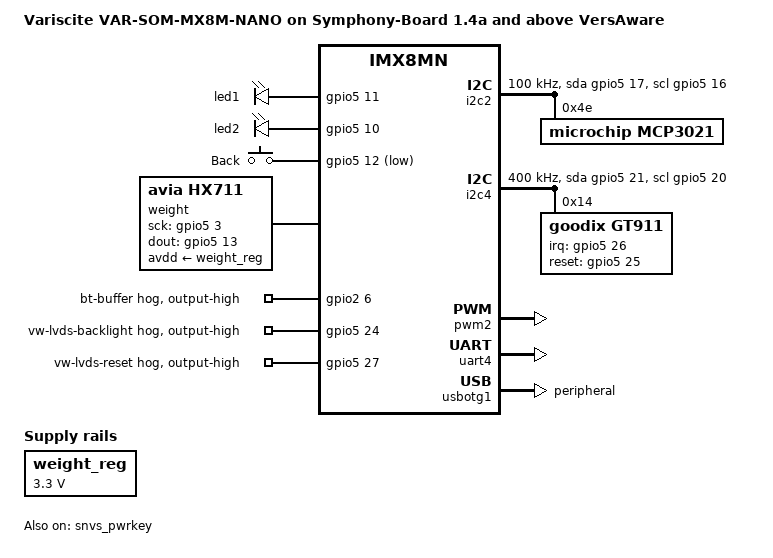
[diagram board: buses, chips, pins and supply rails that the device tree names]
// SPDX-License-Identifier: (GPL-2.0+ OR MIT)
/*
 * Copyright 2019 NXP
 * Copyright 2019-2020 Variscite Ltd.
 */

/dts-v1/;

#include <dt-bindings/usb/pd.h>
#include "imx8mn-var-som.dtsi"

/ {
	model = "Variscite VAR-SOM-MX8M-NANO on Symphony-Board 1.4a and above VersAware";
	compatible = "variscite,var-som-mx8mn", "fsl,imx8mn";

	chosen {
		stdout-path = &uart4;
	};

	leds {
		compatible = "gpio-leds";
		status = "okay";
		pinctrl-names = "default";
		pinctrl-0 = <&pinctrl_leds>;

		led1 {
			label = "led1";
			gpios = <&gpio5 11 GPIO_ACTIVE_HIGH>;
			linux,default-trigger = "default-on";
		};

		led2 {
			label = "led2";
			gpios = <&gpio5 10 GPIO_ACTIVE_HIGH>;
			linux,default-trigger = "default-on";
		};

	};

	gpio-keys {
		compatible = "gpio-keys";
		status = "okay";
		pinctrl-names = "default";
		pinctrl-0 = <&pinctrl_gpio_keys>;

		back {
			label = "Back";
			gpios = <&gpio5 12 GPIO_ACTIVE_LOW>;
			linux,code = <KEY_BACK>;
			wakeup-source;
		};
	};

	sound-wm8904 {
		status = "disabled";
	};

	weight_reg: regulator-weight {
		compatible = "regulator-fixed";
		regulator-name = "loadcell";
		regulator-min-microvolt = <3300000>;
		regulator-max-microvolt = <3300000>;
	};

	weight {
		compatible = "avia,hx711";
		pinctrl-names = "default";
		pinctrl-0 = <&pinctrl_weight>;

		sck-gpios = <&gpio5 3 GPIO_ACTIVE_HIGH>;
		dout-gpios = <&gpio5 13 GPIO_ACTIVE_HIGH>;
		clock-frequency = <100000>;
		avdd-supply = <&weight_reg>;
	};
};

&cameradev {
	status = "disabled";
};

&ecspi1 {
	status = "disabled";
};

&fec1 {
	status = "disabled";
};

&flexspi {
	status = "disabled";
};

&gpio2 {
	pinctrl-names = "defualt";
	pinctrl-0 = <&pinctrl_bt>;

	/* disable buffer on som */
	bt-buffer {
		gpio-hog;
		gpios = <6 GPIO_ACTIVE_HIGH>;
		output-high;
	};
};

&gpio5 {
	pinctrl-names = "default";
	pinctrl-0 = <&pinctrl_vw_lvds>;

	vw-lvds-backlight {
		gpio-hog;
		gpios = <24 GPIO_ACTIVE_HIGH>;
		output-high;
	};

	vw-lvds-reset {
		gpio-hog;
		gpios = <27 GPIO_ACTIVE_HIGH>;
		output-high;
	};
};


&iomuxc {
	pinctrl-names = "defualt";
	pinctrl-0 = <&pinctrl_bat_chg>;

	pinctrl_bat_chg: bat_chg {
		fsl,pins = <
			MX8MN_IOMUXC_GPIO1_IO13_GPIO1_IO13		0x1c3
			MX8MN_IOMUXC_SAI3_TXC_GPIO5_IO0			0x1c3
			MX8MN_IOMUXC_SAI3_RXD_GPIO4_IO30		0x1c3
			MX8MN_IOMUXC_SAI3_RXC_GPIO4_IO29		0x1c3
                >;
	};

	pinctrl_leds: leds {
		fsl,pins = <
			MX8MN_IOMUXC_ECSPI2_MOSI_GPIO5_IO11         	0x16
			MX8MN_IOMUXC_ECSPI2_SCLK_GPIO5_IO10		0x16
                >;
	};

	pinctrl_touch: goodixtouch{
		fsl,pins = <
			MX8MN_IOMUXC_UART3_RXD_GPIO5_IO26         	0x16
			MX8MN_IOMUXC_UART2_TXD_GPIO5_IO25		0x16
                >;
	};

	pinctrl_vw_lvds: vw_lvds {
		fsl,pins = <
		MX8MN_IOMUXC_UART2_RXD_GPIO5_IO24		0x16 /* backlight */
		MX8MN_IOMUXC_UART3_TXD_GPIO5_IO27		0x16 /* reset */
		MX8MN_IOMUXC_GPIO1_IO08_GPIO1_IO8		0x16 /* stbyb */
		>;
	};

	pinctrl_batmon: batmon {
		fsl,pins = <
			MX8MN_IOMUXC_SAI3_TXFS_GPIO4_IO31			0x06
		>;
	};

	pinctrl_buzzer: buzzer {
		fsl,pins = <
			MX8MN_IOMUXC_SPDIF_RX_PWM2_OUT			0x06
		>;
	};

	pinctrl_gpio_keys: keygrp {
		fsl,pins = <
			MX8MN_IOMUXC_ECSPI2_MISO_GPIO5_IO12		0x1c6
		>;
	};

	pinctrl_i2c2: i2c2grp {
		fsl,pins = <
			MX8MN_IOMUXC_I2C2_SCL_I2C2_SCL			0x400001c3
			MX8MN_IOMUXC_I2C2_SDA_I2C2_SDA			0x400001c3
		>;
	};

	pinctrl_i2c4: i2c4grp {
		fsl,pins = <
			MX8MN_IOMUXC_I2C4_SCL_I2C4_SCL			0x400001c3
			MX8MN_IOMUXC_I2C4_SDA_I2C4_SDA			0x400001c3
		>;
	};

	pinctrl_i2c2_gpio: i2c2grp-gpio {
		fsl,pins = <
			MX8MN_IOMUXC_I2C2_SCL_GPIO5_IO16		0x1c3
			MX8MN_IOMUXC_I2C2_SDA_GPIO5_IO17		0x1c3
		>;
	};

	pinctrl_i2c4_gpio: i2c4grp-gpio {
		fsl,pins = <
			MX8MN_IOMUXC_I2C4_SCL_GPIO5_IO20		0x1c3
			MX8MN_IOMUXC_I2C4_SDA_GPIO5_IO21		0x1c3
		>;
	};

	pinctrl_uart4: uart4grp {
		fsl,pins = <
			MX8MN_IOMUXC_UART4_RXD_UART4_DCE_RX		0x140
			MX8MN_IOMUXC_UART4_TXD_UART4_DCE_TX		0x140
		>;
	};

	pinctrl_weight: weight {
		fsl,pins = <
			MX8MN_IOMUXC_ECSPI2_SS0_GPIO5_IO13		0x1c3
			MX8MN_IOMUXC_SPDIF_TX_GPIO5_IO3		0x1c3
		>;
	};
};

&i2c2 {
	clock-frequency = <100000>;
	pinctrl-names = "default", "gpio";
	pinctrl-0 = <&pinctrl_i2c2>;
	pinctrl-1 = <&pinctrl_i2c2_gpio>;
	scl-gpios = <&gpio5 16 GPIO_ACTIVE_HIGH>;
	sda-gpios = <&gpio5 17 GPIO_ACTIVE_HIGH>;
	status = "okay";

	mcp3021@4e {
		compatible = "microchip,mcp3021";
		reg = <0x4e>;
		pinctrl-names = "default";
		pinctrl-0 = <&pinctrl_batmon>;
	};
};

&i2c4 {
	clock-frequency = <400000>;
	pinctrl-names = "default", "gpio";
	pinctrl-0 = <&pinctrl_i2c4>;
	pinctrl-1 = <&pinctrl_i2c4_gpio>;
	scl-gpios = <&gpio5 20 GPIO_ACTIVE_HIGH>;
	sda-gpios = <&gpio5 21 GPIO_ACTIVE_HIGH>;
	status = "okay";
	
	gt911@14 {
			compatible = "goodix,gt911";
			reg = <0x14>; /* I2C address of GT911. This can also be xBB or x28 or x29 */
			pinctrl-names = "default";
			pinctrl-0 = <&pinctrl_touch>; /* This controls the backlight which we are not using (pwmB) */
			interrupt-parent = <&gpio5>; 
			interrupts = <26 IRQ_TYPE_EDGE_RISING>;
			irq-gpios = <&gpio5 26 GPIO_ACTIVE_HIGH>; /* This pin should be active when bluetooth function is disabled */ 
			reset-gpios = <&gpio5 25 GPIO_ACTIVE_HIGH>; /* This pin should be active when bluetooth function is disabled */ 
                       touchscreen-size-x = <800>; /* pixel size width */
		        touchscreen-size-y = <480>; /* pixel size height */
		        status = "okay";
			wakeup-source;
	};
};

&pwm2 {
	status = "okay";
	pinctrl-names = "default";
	pinctrl-0 = <&pinctrl_buzzer>;
};

&dsi_lvds_bridge {
	ti,dsi-lanes = <1>;
	ti,lvds-format = <2>; /* done, format 1 <1> must be selected when RGB888(24bpp) data is received from DSI */
	ti,lvds-bpp = <24>; /* done, 24 bits of data each lane */
	ti,lvds-channels = <1>; /* done, one main channel */
	ti,width-mm = <108>; /* done, pixel active area width */
	ti,height-mm = <65>; /* done, pixel active area height */

	display-timings {
		lvds {
			clock-frequency = <25000000>; /* done, changed from 33MHz to 25MHz */
			hactive = <800>; /* done, unchanged pixel height */
			vactive = <480>; /* done, unchanged pixel height */
			hback-porch = <8>; /* done, changed hback from 40 to 8 */
			hfront-porch = <8>; /* done, changed hfront from 40 to 8 */
			vback-porch = <8>; /* done, changed vback from 29 to 8 */
			vfront-porch = <8>; /* done, changed vfront from 13 to 8 */
			hsync-len = <4>; /* done, changed hsync from 48 to 4. Related to pulse width */
			vsync-len = <4>; /* done, changed vsync from 3 to 4. Related to pulse width */
			hsync-active = <0>; /* done, unchanged but may need to test */
			vsync-active = <0>; /* done, unchanged but may need to test */
			de-active = <1>; /* done, unchanged but may need to test */
			pixelclk-active = <0>; /* done, unchanged but may need to test */
		};
	};
};

&snvs_pwrkey {
	status = "okay";
};

&snvs_rtc {
	status = "disabled";
};

&uart2 {
	status = "disabled";
};

/* Console */
&uart4 {
	pinctrl-names = "default";
	pinctrl-0 = <&pinctrl_uart4>;
	status = "okay";
	/delete-property/ dmas;
	/delete-property/ dma-names;
};

&usbotg1 {
	dr_mode = "peripheral";
	picophy,pre-emp-curr-control = <3>;
	picophy,dc-vol-level-adjust = <7>;
	hnp-disable;
	srp-disable;
	adp-disable;
	status = "okay";
};

&sai5 {
	status = "disabled";
};

&wm8904 {
	status = "disabled";
};
